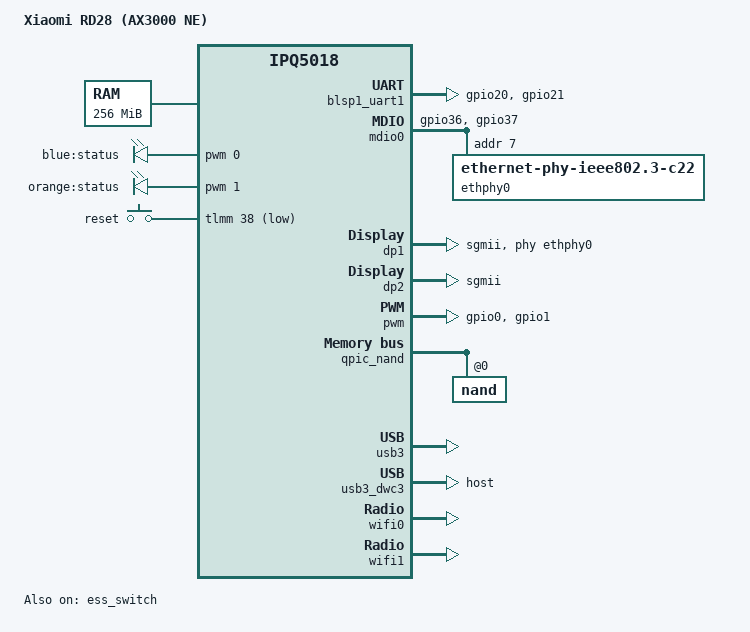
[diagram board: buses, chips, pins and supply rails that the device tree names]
// SPDX-License-Identifier: GPL-2.0-or-later OR MIT
// Xiaomi RD28 (AX3000 NE) - Wi-Fi 6 Mesh Node
// SoC: Qualcomm IPQ5018 (AP-MP03.3)
// Extracted device tree: qcom,ipq5018-mp03.3
// RAM: 256MB @ 0x40000000
// NAND: 128MB Toshiba/KIOXIA
// Radios: QCA5018 (2.4GHz, AHB) + QCN6122 (5GHz, PCIe)
// WAN: eth0 (dp1, SGMII to internal GEPHY addr 7)
// LAN: eth1 (dp2, SGMII to ESS switch)
// LED: RGB via PWM (gpio0=blue, gpio1=orange)
// BTN: Reset on gpio38 (active low)

/dts-v1/;

#include "qcom-ipq5018.dtsi"

/ {
	model = "Xiaomi RD28 (AX3000 NE)";
	compatible = "xiaomi,rd28", "qcom,ipq5018-mp03.3", "qcom,ipq5018";

	aliases {
		serial0 = &blsp1_uart1;
		ethernet0 = &dp1;
		ethernet1 = &dp2;
		label-mac-device = &dp1;
	};

	chosen {
		stdout-path = "serial0:115200n8";
		bootargs-append = " ubi.mtd=rootfs root=mtd:ubi_rootfs rootfstype=squashfs";
	};

	memory@40000000 {
		device_type = "memory";
		reg = <0x0 0x40000000 0x0 0x10000000>;
	};

	leds {
		compatible = "pwm-leds";

		led-blue {
			label = "blue:status";
			pwms = <&pwm 0 50000>;
			max-brightness = <255>;
		};

		led-orange {
			label = "orange:status";
			pwms = <&pwm 1 50000>;
			max-brightness = <255>;
		};
	};

	gpio-keys {
		compatible = "gpio-keys";
		pinctrl-0 = <&button_pins>;
		pinctrl-names = "default";

		reset {
			label = "reset";
			linux,code = <KEY_RESTART>;
			gpios = <&tlmm 38 GPIO_ACTIVE_LOW>;
			linux,input-type = <EV_KEY>;
			debounce-interval = <60>;
		};
	};
};

&blsp1_uart1 {
	pinctrl-0 = <&uart1_pins>;
	pinctrl-names = "default";
	status = "okay";
};

&tlmm {
	uart1_pins: uart1-state {
		pins = "gpio20", "gpio21";
		function = "blsp0_uart0";
		drive-strength = <8>;
		bias-pull-down;
	};

	mdio0_pins: mdio0-state {
		mdc {
			pins = "gpio36";
			function = "mdc";
			drive-strength = <8>;
			bias-pull-up;
		};
		mdio {
			pins = "gpio37";
			function = "mdio";
			drive-strength = <8>;
			bias-pull-up;
		};
	};

	pwm_pins: pwm-state {
		pins = "gpio0", "gpio1";
		function = "pwm";
		drive-strength = <8>;
	};

	button_pins: button-state {
		pins = "gpio38";
		function = "gpio";
		drive-strength = <8>;
		bias-pull-up;
	};

	phy_led_pin: phy-led-state {
		pins = "gpio46";
		function = "led0";
		drive-strength = <8>;
		bias-pull-down;
	};
};

&mdio0 {
	status = "okay";
	pinctrl-0 = <&mdio0_pins>;
	pinctrl-names = "default";

	ethphy0: ethernet-phy@7 {
		compatible = "ethernet-phy-ieee802.3-c22";
		reg = <7>;
	};
};

&ess_switch {
	status = "okay";
};

/* WAN: dp1 (eth0) - SGMII to internal GEPHY */
&dp1 {
	status = "okay";
	phy-mode = "sgmii";
	phy-handle = <&ethphy0>;
	qcom,phy-mdio-addr = <7>;
	qcom,link-poll = <1>;
	qcom,mactype = <2>;
	local-mac-address = [50 88 11 41 98 a7];
	label = "wan";
};

/* LAN: dp2 (eth1) - ESS switch */
&dp2 {
	status = "okay";
	phy-mode = "sgmii";
	qcom,mactype = <2>;
	local-mac-address = [50 88 11 c4 c9 f5];
};

&pwm {
	pinctrl-0 = <&pwm_pins>;
	pinctrl-names = "default";
	status = "okay";
};

&qpic_nand {
	status = "okay";

	nand@0 {
		reg = <0>;
		nand-ecc-strength = <4>;
		nand-ecc-step-size = <512>;
		nand-bus-width = <8>;

		partitions {
			compatible = "qcom,smem-part";
		};
	};
};

&usb3 {
	status = "okay";
};

&usb3_dwc3 {
	dr_mode = "host";
};

/* IPQ5018 internal 2.4GHz radio (QCA5018 via AHB) */
&wifi0 {
	status = "okay";
	qcom,ath11k-calibration-variant = "Xiaomi-RD28";
};

/* QCN6122 5GHz radio (via PCIe) */
&wifi1 {
	status = "okay";
	qcom,ath11k-calibration-variant = "Xiaomi-RD28";
};
